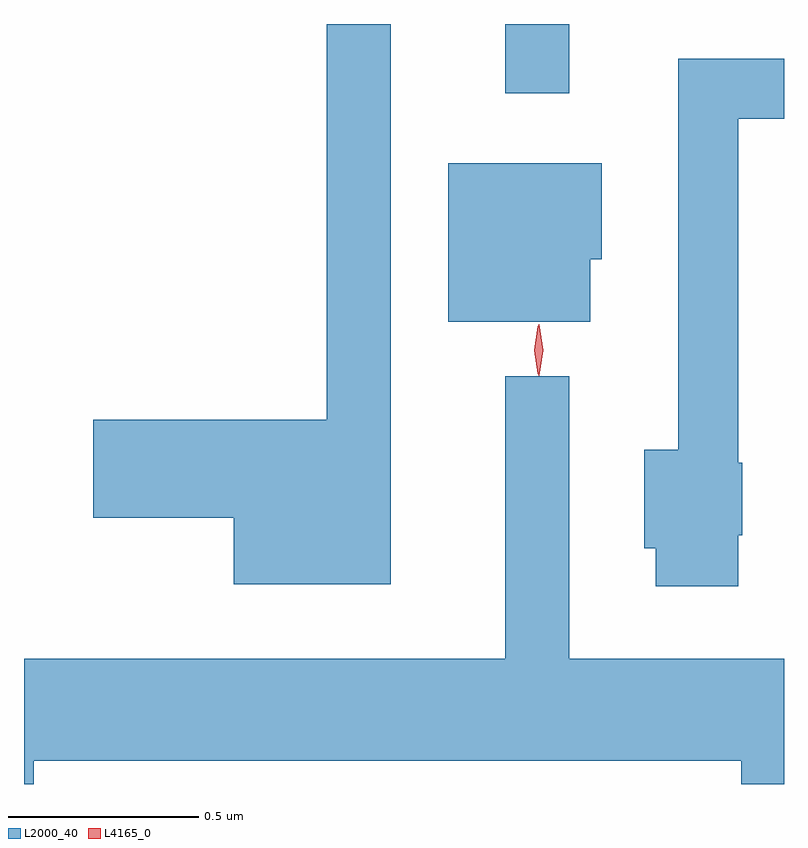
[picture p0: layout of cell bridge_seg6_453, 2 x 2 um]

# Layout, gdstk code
import gdstk
lib = gdstk.Library(unit=1e-6, precision=1e-09)
def R(c, l, rs):  # rectangles x0, y0, x1, y1
    for r in rs: c.add(gdstk.rectangle(r[:2], r[2:], *l))
def P(c, l, *ps):  # polygons
    for p in ps: c.add(gdstk.Polygon(p, *l))
L2000_40 = (2000, 40)
L4165_0 = (4165, 0)

bridge_seg6_453 = lib.new_cell('bridge_seg6_453')
R(bridge_seg6_453, L2000_40, [(1005.961,1600.633,1006.129,1600.815)])
P(bridge_seg6_453, L2000_40, [(1005.659,1600.815),(1005.491,1600.815),(1005.491,1599.774),(1004.876,1599.774),(1004.876,1599.516),(1005.246,1599.516),(1005.246,1599.341),(1005.659,1599.341)],
  [(1006.574,1599.47),(1006.584,1599.47),(1006.584,1599.66),(1006.574,1599.66),(1006.574,1600.566),(1006.694,1600.566),(1006.694,1600.724),(1006.416,1600.724),(1006.416,1599.694),(1006.326,1599.694),(1006.326,1599.436),(1006.356,1599.436),(1006.356,1599.336),(1006.574,1599.336)],
  [(1006.184,1600.196),(1006.214,1600.196),(1006.214,1600.449),(1005.811,1600.449),(1005.811,1600.031),(1006.184,1600.031)],
  [(1004.719,1598.876),(1006.581,1598.876),(1006.581,1598.815),(1006.694,1598.815),(1006.694,1599.144),(1006.129,1599.144),(1006.129,1599.888),(1005.961,1599.888),(1005.961,1599.144),(1004.694,1599.144),(1004.694,1598.815),(1004.719,1598.815)])
P(bridge_seg6_453, L4165_0, [(1006.049,1599.89),(1006.049,1599.89),(1006.039,1599.957),(1006.049,1600.025),(1006.049,1600.025),(1006.05,1600.025),(1006.06,1599.957),(1006.05,1599.89)],
  [(1006.047,1599.893),(1006.046,1599.894),(1006.037,1599.957),(1006.046,1600.02),(1006.047,1600.021),(1006.047,1600.02),(1006.057,1599.957),(1006.047,1599.894)])

lib.write_gds('bridge_seg6_453.gds')
